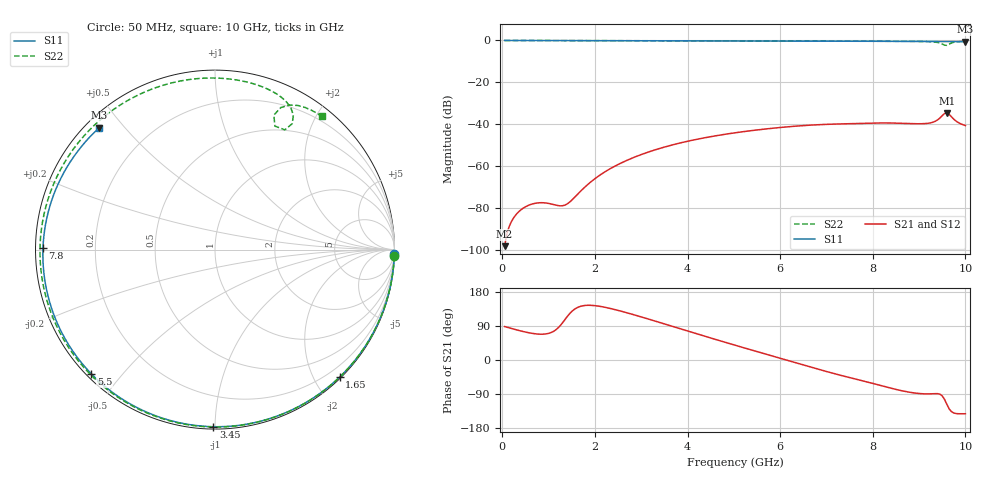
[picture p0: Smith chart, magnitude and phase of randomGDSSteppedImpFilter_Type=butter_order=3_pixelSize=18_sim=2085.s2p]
! freq	dB(S11)	phase(S11)	dB(S12)	phase(S12)
!  dB(S21)	phase(S21)	dB(S22)	phase(S22)
!S-par simulation data
#  GHz  S  DB  R 50
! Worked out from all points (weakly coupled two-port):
!   200 points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, 50 MHz to 10 GHz, reference 50 ohm
!   highest |S21| = -34.56 dB at 9.6 GHz (marker M1); lowest = -98.1 dB at 50 MHz (marker M2)
!   lowest |S11| = -0.6 dB at 10 GHz (marker M3), VSWR 30.27, Z = 1.96 + j21.4 ohm
!   |S11| at or under -10 dB: nowhere
!   |S22| runs from -2.3 to 0.0 dB; largest |S21 - S12| = 0
!   S11 on the Smith chart (normalised r, x): 50 MHz: 0, -80; 1.65 GHz: 0.02, -2.38; 3.45 GHz: 0.01, -0.99; 5.5 GHz: 0.01, -0.42; 7.8 GHz: 0.02, +0.00; 10 GHz: 0.04, +0.43
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0.05  -0.00 -1.4  -98.14 88.3  -98.14 88.3  -0.00 -2.2
0.45  -0.02 -12.7  -80.03 75.2  -80.03 75.2  -0.02 -19.3
0.8  -0.03 -22.5  -77.43 68.2  -77.43 68.2  -0.04 -34.0
1.3  -0.05 -36.2  -78.86 98.1  -78.86 98.1  -0.07 -54.2
1.45  -0.05 -40.3  -77.19 121.7  -77.19 121.7  -0.07 -60.0
1.65  -0.06 -45.6  -72.83 140.0  -72.83 140.0  -0.08 -67.6
1.75  -0.06 -48.3  -70.64 143.3  -70.64 143.3  -0.08 -71.4
2.05  -0.07 -56.1  -65.13 142.7  -65.13 142.7  -0.09 -82.3
2.45  -0.08 -66.3  -59.74 132.5  -59.74 132.5  -0.11 -96.2
3.4  -0.11 -89.3  -51.51 99.0  -51.51 99.0  -0.14 -126.2
3.45  -0.12 -90.5  -51.19 97.2  -51.19 97.2  -0.14 -127.7
4.25  -0.15 -108.5  -46.93 67.3  -46.93 67.3  -0.17 -150.5
5.05  -0.18 -125.6  -43.98 38.2  -43.98 38.2  -0.20 -171.9
5.5  -0.21 -134.9  -42.69 22.2  -42.69 22.2  -0.23 176.3
6.7  -0.28 -158.8  -40.34 -20.0  -40.34 -20.0  -0.29 144.8
7.8  -0.37 179.4  -39.52 -55.5  -39.52 -55.5  -0.34 114.4
8.35  -0.42 168.4  -39.37 -73.1  -39.37 -73.1  -0.37 98.2
9.2  -0.50 150.8  -39.50 -89.4  -39.50 -89.4  -0.56 70.2
9.45  -0.53 145.5  -36.98 -90.3  -36.98 -90.3  -1.23 59.8
9.6  -0.54 142.3  -34.56 -117.2  -34.56 -117.2  -2.33 64.1
9.75  -0.55 139.0  -37.58 -139.9  -37.58 -139.9  -0.85 62.7
10  -0.57 133.5  -40.59 -141.9  -40.59 -141.9  -0.44 51.3
